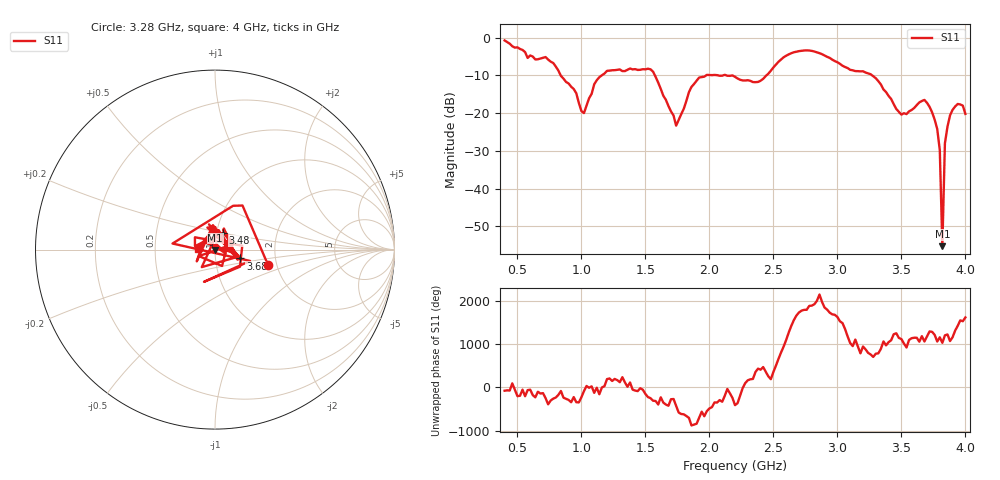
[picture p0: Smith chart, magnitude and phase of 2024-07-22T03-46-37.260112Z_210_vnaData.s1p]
!Created with skrf (http://scikit-rf.org).
# Hz S RI R 50.0
!freq ReS11 ImS11
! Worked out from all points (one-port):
!   181 points, 400 MHz to 4 GHz, reference 50 ohm
!   lowest |S11| = -55.3 dB at 3.82 GHz (marker M1), VSWR 1.00, Z = 50.1 - j0.133 ohm
!   |S11| at or under -10 dB: 837.7 MHz to 1.16 GHz (321.9 MHz wide, 32.2 % of centre); 1.574 GHz to 1.975 GHz (401.5 MHz wide, 22.6 % of centre); 3.27 GHz to end of sweep (the widest 3 of 5)
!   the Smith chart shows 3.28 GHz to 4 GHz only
!   S11 on the Smith chart (normalised r, x): 3.28 GHz: 1.80, -0.34; 3.48 GHz: 1.07, +0.20; 3.68 GHz: 1.32, -0.13; 4 GHz: 0.82, +0.01
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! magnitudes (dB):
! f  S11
! 400 MHz  -0.8
! 580 MHz  -5.4
! 720 MHz  -5.2
! 860 MHz  -10.9
! 960 MHz  -14.8
! 1.02 GHz  -20.0
! 1.12 GHz  -11.3
! 1.3 GHz  -8.4
! 1.54 GHz  -8.4
! 1.74 GHz  -23.3
! 1.76 GHz  -21.8
! 1.92 GHz  -10.6
! 2.2 GHz  -10.4
! 2.38 GHz  -11.8
! 2.66 GHz  -3.9
! 2.84 GHz  -3.9
! 3.1 GHz  -8.5
! 3.28 GHz  -10.3
! 3.48 GHz  -19.6
! 3.56 GHz  -19.5
! 3.68 GHz  -16.5
! 3.78 GHz  -24.2
! 3.8 GHz  -29.8
! 3.82 GHz  -55.3
! 3.84 GHz  -28.0
! 3.86 GHz  -23.6
! 3.94 GHz  -17.6
! 4 GHz  -20.2
